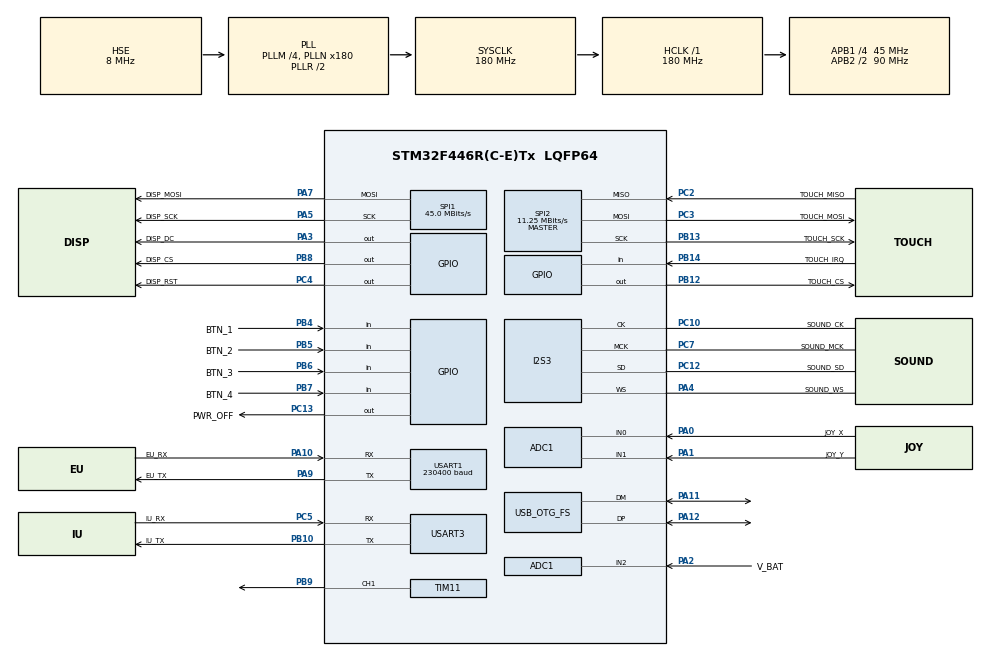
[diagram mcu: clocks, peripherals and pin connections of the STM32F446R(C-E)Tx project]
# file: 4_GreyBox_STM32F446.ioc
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ADC1.Channel-0\#ChannelRegularConversion=ADC_CHANNEL_0
ADC1.Channel-1\#ChannelRegularConversion=ADC_CHANNEL_1
ADC1.Channel-2\#ChannelRegularConversion=ADC_CHANNEL_2
ADC1.Channel-3\#ChannelRegularConversion=ADC_CHANNEL_TEMPSENSOR
ADC1.Channel-4\#ChannelRegularConversion=ADC_CHANNEL_VREFINT
ADC1.ContinuousConvMode=DISABLE
ADC1.DMAContinuousRequests=DISABLE
ADC1.InjNumberOfConversion=0
ADC1.NbrOfConversion=5
ADC1.NbrOfConversionFlag=1
ADC1.Rank-0\#ChannelRegularConversion=1
ADC1.Rank-1\#ChannelRegularConversion=2
ADC1.Rank-2\#ChannelRegularConversion=3
ADC1.Rank-3\#ChannelRegularConversion=4
ADC1.Rank-4\#ChannelRegularConversion=5
ADC1.SamplingTime-0\#ChannelRegularConversion=ADC_SAMPLETIME_84CYCLES
ADC1.SamplingTime-1\#ChannelRegularConversion=ADC_SAMPLETIME_84CYCLES
ADC1.SamplingTime-2\#ChannelRegularConversion=ADC_SAMPLETIME_84CYCLES
ADC1.SamplingTime-3\#ChannelRegularConversion=ADC_SAMPLETIME_84CYCLES
ADC1.SamplingTime-4\#ChannelRegularConversion=ADC_SAMPLETIME_84CYCLES
ADC1.master=1
Dma.ADC1.1.Direction=DMA_PERIPH_TO_MEMORY
Dma.ADC1.1.FIFOMode=DMA_FIFOMODE_DISABLE
Dma.ADC1.1.Instance=DMA2_Stream0
Dma.ADC1.1.MemDataAlignment=DMA_MDATAALIGN_HALFWORD
Dma.ADC1.1.MemInc=DMA_MINC_ENABLE
Dma.ADC1.1.Mode=DMA_NORMAL
Dma.ADC1.1.PeriphDataAlignment=DMA_PDATAALIGN_HALFWORD
Dma.ADC1.1.PeriphInc=DMA_PINC_DISABLE
Dma.ADC1.1.Priority=DMA_PRIORITY_LOW
Dma.Request0=SPI1_TX
Dma.Request1=ADC1
Dma.SPI1_TX.0.Direction=DMA_MEMORY_TO_PERIPH
Dma.SPI1_TX.0.FIFOMode=DMA_FIFOMODE_DISABLE
Dma.SPI1_TX.0.Instance=DMA2_Stream3
Dma.SPI1_TX.0.MemDataAlignment=DMA_MDATAALIGN_BYTE
Dma.SPI1_TX.0.MemInc=DMA_MINC_ENABLE
Dma.SPI1_TX.0.Mode=DMA_NORMAL
Dma.SPI1_TX.0.PeriphDataAlignment=DMA_PDATAALIGN_BYTE
Dma.SPI1_TX.0.PeriphInc=DMA_PINC_DISABLE
Dma.SPI1_TX.0.Priority=DMA_PRIORITY_LOW
I2S3.ErrorAudioFreq=-0.12 %
I2S3.FullDuplexMode=I2S_FULLDUPLEXMODE_DISABLE
I2S3.Instance=SPI$Index
I2S3.RealAudioFreq=7.99 KHz
I2S3.VirtualMode=I2S_MODE_MASTER
Mcu.Family=STM32F4
Mcu.Name=STM32F446R(C-E)Tx
Mcu.Package=LQFP64
NVIC.DMA2_Stream0_IRQn=true\:0\:0\:false\:false\:true\:false\:true\:true
NVIC.DMA2_Stream3_IRQn=true\:3\:0\:true\:false\:true\:false\:true\:true
NVIC.PriorityGroup=NVIC_PRIORITYGROUP_4
NVIC.SPI1_IRQn=true\:4\:0\:true\:false\:true\:true\:true\:true
NVIC.USART1_IRQn=true\:0\:0\:false\:false\:true\:true\:true\:true
PA0-WKUP.GPIO_Label=JOY_X
PA0-WKUP.Signal=ADCx_IN0
PA1.GPIO_Label=JOY_Y
PA1.Signal=ADCx_IN1
PA10.GPIO_Label=EU_RX
PA10.Mode=Asynchronous
PA10.Signal=USART1_RX
PA11.Mode=Device_Only
PA11.Signal=USB_OTG_FS_DM
PA12.Mode=Device_Only
PA12.Signal=USB_OTG_FS_DP
PA13.Mode=Trace_Asynchronous_SW
PA13.Signal=SYS_JTMS-SWDIO
PA14.Mode=Trace_Asynchronous_SW
PA14.Signal=SYS_JTCK-SWCLK
PA2.GPIO_Label=V_BAT
PA2.Signal=ADCx_IN2
PA3.GPIO_Label=DISP_DC
PA3.Signal=GPIO_Output
PA4.GPIO_Label=SOUND_WS
PA4.Mode=Half_Duplex_Master
PA4.Signal=I2S3_WS
PA5.GPIO_Label=DISP_SCK
PA5.GPIO_Speed=GPIO_SPEED_FREQ_VERY_HIGH
PA5.Mode=TX_Only_Simplex_Unidirect_Master
PA5.Signal=SPI1_SCK
PA7.GPIO_Label=DISP_MOSI
PA7.GPIO_Speed=GPIO_SPEED_FREQ_VERY_HIGH
PA7.Mode=TX_Only_Simplex_Unidirect_Master
PA7.Signal=SPI1_MOSI
PA9.GPIO_Label=EU_TX
PA9.Mode=Asynchronous
PA9.Signal=USART1_TX
PB10.GPIO_Label=IU_TX
PB10.Mode=Asynchronous
PB10.Signal=USART3_TX
PB12.GPIO_Label=TOUCH_CS
PB12.Signal=GPIO_Output
PB13.GPIO_Label=TOUCH_SCK
PB13.GPIO_Speed=GPIO_SPEED_FREQ_LOW
PB13.Mode=Full_Duplex_Master
PB13.Signal=SPI2_SCK
PB14.GPIO_Label=TOUCH_IRQ
PB14.Signal=GPIO_Input
PB3.Mode=Trace_Asynchronous_SW
PB3.Signal=SYS_JTDO-SWO
PB4.GPIO_Label=BTN_1
PB4.GPIO_PuPd=GPIO_PULLUP
PB4.Signal=GPIO_Input
PB5.GPIO_Label=BTN_2
PB5.GPIO_PuPd=GPIO_PULLUP
PB5.Signal=GPIO_Input
PB6.GPIO_Label=BTN_3
PB6.GPIO_PuPd=GPIO_PULLUP
PB6.Signal=GPIO_Input
PB7.GPIO_Label=BTN_4
PB7.GPIO_PuPd=GPIO_PULLUP
PB7.Signal=GPIO_Input
PB8.GPIO_Label=DISP_CS
PB8.Signal=GPIO_Output
PB9.GPIO_PuPd=GPIO_PULLUP
PB9.GPIO_Speed=GPIO_SPEED_FREQ_MEDIUM
PB9.Signal=S_TIM11_CH1
PC10.GPIO_Label=SOUND_CK
PC10.Mode=Half_Duplex_Master
PC10.Signal=I2S3_CK
PC12.GPIO_Label=SOUND_SD
PC12.Mode=Half_Duplex_Master
PC12.Signal=I2S3_SD
PC13.GPIO_Label=PWR_OFF
PC13.PinState=GPIO_PIN_SET
PC13.Signal=GPIO_Output
PC14-OSC32_IN.Mode=LSE-External-Oscillator
PC14-OSC32_IN.Signal=RCC_OSC32_IN
PC15-OSC32_OUT.Mode=LSE-External-Oscillator
PC15-OSC32_OUT.Signal=RCC_OSC32_OUT
PC2.GPIO_Label=TOUCH_MISO
PC2.GPIO_Speed=GPIO_SPEED_FREQ_LOW
PC2.Mode=Full_Duplex_Master
PC2.Signal=SPI2_MISO
PC3.GPIO_Label=TOUCH_MOSI
PC3.GPIO_Speed=GPIO_SPEED_FREQ_LOW
PC3.Mode=Full_Duplex_Master
PC3.Signal=SPI2_MOSI
PC4.GPIO_Label=DISP_RST
PC4.Signal=GPIO_Output
PC5.GPIO_Label=IU_RX
PC5.Mode=Asynchronous
PC5.Signal=USART3_RX
PC7.GPIO_Label=SOUND_MCK
PC7.Mode=Master_Clock_Activated
PC7.Signal=I2S3_MCK
PH0-OSC_IN.Mode=HSE-External-Oscillator
PH0-OSC_IN.Signal=RCC_OSC_IN
PH1-OSC_OUT.Mode=HSE-External-Oscillator
PH1-OSC_OUT.Signal=RCC_OSC_OUT
ProjectManager.HeapSize=0x200
ProjectManager.StackSize=0x400
ProjectManager.TargetToolchain=STM32CubeIDE
RCC.AHBFreq_Value=180000000
RCC.APB1CLKDivider=RCC_HCLK_DIV4
RCC.APB1Freq_Value=45000000
RCC.APB1TimFreq_Value=90000000
RCC.APB2CLKDivider=RCC_HCLK_DIV2
RCC.APB2Freq_Value=90000000
RCC.APB2TimFreq_Value=180000000
RCC.CortexFreq_Value=180000000
RCC.HCLKFreq_Value=180000000
RCC.HSE_VALUE=8000000
RCC.I2S1CLockSelection=RCC_I2SAPB1CLKSOURCE_PLLR
RCC.PLLM=4
RCC.PLLN=180
RCC.PLLQ=7
RCC.PLLSAIM=4
RCC.PLLSAIN=96
RCC.PLLSAIP=RCC_PLLSAIP_DIV4
RCC.PLLSourceVirtual=RCC_PLLSOURCE_HSE
RCC.RCC_RTC_Clock_SourceVirtual=RCC_RTCCLKSOURCE_LSE
RCC.SYSCLKFreq_VALUE=180000000
RCC.SYSCLKSource=RCC_SYSCLKSOURCE_PLLRCLK
RCC.USBCLockSelection=RCC_CLK48CLKSOURCE_PLLSAIP
RCC.USBFreq_Value=48000000
RCC.VCOOutputFreq_Value=360000000
SH.ADCx_IN0.0=ADC1_IN0,IN0
SH.ADCx_IN1.0=ADC1_IN1,IN1
SH.ADCx_IN2.0=ADC1_IN2,IN2
SH.S_TIM11_CH1.0=TIM11_CH1,PWM Generation1 CH1
SPI1.BaudRatePrescaler=SPI_BAUDRATEPRESCALER_2
SPI1.CLKPhase=SPI_PHASE_1EDGE
SPI1.CLKPolarity=SPI_POLARITY_LOW
SPI1.CalculateBaudRate=45.0 MBits/s
SPI1.DataSize=SPI_DATASIZE_8BIT
SPI1.Direction=SPI_DIRECTION_2LINES
SPI1.Mode=SPI_MODE_MASTER
SPI1.VirtualNSS=VM_NSSHARD
SPI1.VirtualType=VM_MASTER
SPI2.BaudRatePrescaler=SPI_BAUDRATEPRESCALER_4
SPI2.CalculateBaudRate=11.25 MBits/s
SPI2.Direction=SPI_DIRECTION_2LINES
SPI2.Mode=SPI_MODE_MASTER
SPI2.VirtualType=VM_MASTER
TIM11.Channel=TIM_CHANNEL_1
TIM11.Period=4400
TIM11.Prescaler=1
TIM11.Pulse=0
USART1.BaudRate=230400
USART1.VirtualMode=VM_ASYNC
USART3.VirtualMode=VM_ASYNC
USB_OTG_FS.VirtualMode=Device_Only
VP_ADC1_TempSens_Input.Mode=IN-TempSens
VP_ADC1_Vref_Input.Mode=IN-Vrefint
VP_RTC_VS_RTC_Activate.Mode=RTC_Enabled
VP_RTC_VS_RTC_Calendar.Mode=RTC_Calendar
VP_TIM11_VS_ClockSourceINT.Mode=Enable_Timer
board=custom

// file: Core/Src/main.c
/* USER CODE BEGIN Header */
/**
  ******************************************************************************
  * @file           : main.c
  * @brief          : Main program body
  ******************************************************************************
  * @attention
  *
  * Copyright (c) 2025 STMicroelectronics.
  * All rights reserved.
  *
  * This software is licensed under terms that can be found in the LICENSE file
  * in the root directory of this software component.
  * If no LICENSE file comes with this software, it is provided AS-IS.
  *
  ******************************************************************************
  */
#define  AVER_PERIOD    10
/* USER CODE END Header */
#include "main.h"

/* USER CODE BEGIN Includes */
#include "ILI9341_GFX.h"
#include "ILI9341_STM32_Driver.h"
#include <stdio.h>
#include <stdlib.h>
#include <string.h>
#include "common.h"
#include "ringbuf.h"
#include "scheduler.h"
/* USER CODE END Includes */

/* USER CODE BEGIN PTD */
typedef struct {
	uint16_t X;
	uint16_t Y;
	uint16_t ch;

}tMatrix;

tMatrix MatArr[22];

typedef union{
	uint16_t array[5];
	struct{
		uint16_t joy;
		uint16_t jox;
		uint16_t batlvl;
		uint16_t tmpr;
		uint16_t vref;
	};
}ADCdat_t;

typedef struct
{
  int batlvl;
  int jox;
  int joy;
  int tmpr;
  int vref;
}ADCaverdat_t;

typedef struct
{
  uint8_t joyx[128];
  uint8_t joyx_prev[128];
  uint8_t joyy[128];
  uint8_t joyy_prev[128];
  uint8_t Vbat[128];
  uint8_t Vbat_prev[128];
  uint8_t Vpowsup[128];
  uint8_t Vpowsup_prev[128];
  uint8_t Temper[128];
  uint8_t Temper_prev[128];
  uint8_t UART_string[128];
  uint8_t UART_string_prev[128];
  uint8_t Seconds[128];
  uint8_t Seconds_prev[128];
}DispDat_t;

char InfoStr[120] = {0};
/* USER CODE END PTD */

/* USER CODE BEGIN PD */
RINGBUF_t UartRXbuf;
uint8_t rx_buf[120] = {0};
uint8_t temp_byte;
DispDat_t temp_str = {0};

ADCdat_t ADC_data;
uint8_t temp_byte;
ADCaverdat_t ADC_averdata;

uint32_t summ_counter = 0;
uint32_t adc_complete = 1;
uint32_t adc_summcomplete = 0;
/* USER CODE END PD */

ADC_HandleTypeDef hadc1;
DMA_HandleTypeDef hdma_adc1;

I2S_HandleTypeDef hi2s3;

RTC_HandleTypeDef hrtc;

SPI_HandleTypeDef hspi1;
SPI_HandleTypeDef hspi2;
DMA_HandleTypeDef hdma_spi1_tx;

TIM_HandleTypeDef htim11;

UART_HandleTypeDef huart1;
UART_HandleTypeDef huart3;

PCD_HandleTypeDef hpcd_USB_OTG_FS;

void SystemClock_Config(void);
static void MX_GPIO_Init(void);
static void MX_DMA_Init(void);
static void MX_ADC1_Init(void);
static void MX_I2S3_Init(void);
static void MX_RTC_Init(void);
static void MX_SPI1_Init(void);
static void MX_SPI2_Init(void);
static void MX_USART1_UART_Init(void);
static void MX_USB_OTG_FS_PCD_Init(void);
static void MX_USART3_UART_Init(void);
static void MX_TIM11_Init(void);

/* USER CODE BEGIN 0 */
int _write(int file, char *ptr, int len)
{
  (void)file;
  int DataIdx;

  for (DataIdx = 0; DataIdx < len; DataIdx++)
  {
	  ITM_SendChar(*ptr++);
  }
  return len;
}

void UART_handler(void)
{
	static uint32_t temp_tick = 0;
	static uint16_t buf_len = 0;
	static uint16_t buf_len_prev = 0;

	RingBuf_Available(&buf_len, &UartRXbuf);
	if(buf_len)
	{
		if(buf_len_prev != buf_len)
		{
			buf_len_prev = buf_len;
			temp_tick = HAL_GetTick();
		}
		if((HAL_GetTick() - temp_tick) > 5)
		{
			RingBuf_DataRead(temp_str.UART_string, buf_len, &UartRXbuf);
			temp_str.UART_string[buf_len] = '\0';
			HAL_UART_Transmit_IT(&huart1, (uint8_t*)"OK!\n", 5);
		}
	}
}

void ADC_handler(void)
{
	static int Vtemper = 0;
	static int Temperature = 0;
	static int joyVoltX = 0;
	static int joyVoltY = 0;
	static int Vbattery = 0;
	static int Vpower = 0;

	if(adc_summcomplete)
	{
		ADC_averdata.batlvl /= summ_counter;
		ADC_averdata.jox /= summ_counter;
		ADC_averdata.joy /= summ_counter;
		ADC_averdata.tmpr /= summ_counter;
		ADC_averdata.vref /= summ_counter;

		joyVoltX = (ADC_averdata.jox * 1210) / ADC_averdata.vref;
		sprintf((char*)temp_str.joyx, "Jx: %d.%02dV", joyVoltX/1000, (joyVoltX%1000)/10);
		joyVoltY = (ADC_averdata.joy * 1210) / ADC_averdata.vref;
		sprintf((char*)temp_str.joyy, "Jy: %d.%02dV", joyVoltY/1000, (joyVoltY%1000)/10);
		Vbattery = (ADC_averdata.batlvl * 1853) / ADC_averdata.vref;
		sprintf((char*)temp_str.Vbat, "Vb: %d.%02dV", Vbattery/1000, (Vbattery%1000)/10);
		Vpower = (4095 * 1210) / ADC_averdata.vref;
		sprintf((char*)temp_str.Vpowsup, "Vp: %d.%02dV", Vpower/1000, (Vpower%1000)/10);
		Vtemper = (ADC_averdata.tmpr * 12100) / ADC_averdata.vref; // x10 mV
		Temperature = 25 + (Vtemper - 7600) / 25;
		sprintf((char*)temp_str.Temper, "T:  %d*C",Temperature);

		ADC_averdata.batlvl = 0;
		ADC_averdata.jox = 0;
		ADC_averdata.joy = 0;
		ADC_averdata.tmpr = 0;
		ADC_averdata.vref = 0;

	    joystick.ox = (uint8_t)clamp(((joyVoltX * 10) / 129), 0, 255);
	    joystick.oy = (uint8_t)clamp(((joyVoltY* 10) / 129), 0, 255);
	    Ubat = (uint8_t)clamp(((Vbattery * 10) / 164), 0, 255);

		adc_summcomplete = 0;
		summ_counter = 0;
	}

	if(adc_complete)
	{
		HAL_ADC_Start_DMA(&hadc1, (uint32_t*)ADC_data.array, 5);
		adc_complete = 0;
	}
}

void displayparams(void)
{
	static char tempstring[10][100];
	static uint16_t text_color = GREEN;

	sprintf((char*)temp_str.Seconds, "%02lu:%02lu:%02lu", (HAL_GetTick()/1000)/3600, ((HAL_GetTick()/1000)%3600)/60, (HAL_GetTick()/1000)%60);
	sprintf(tempstring[0], "jx%03u jy%03u BAT%03u<%d>", joystick.ox, joystick.oy, Ubat, batlvl);
	sprintf(tempstring[1], "PWM%03u", brightPWM);

	ILI9341_DrawText("8 bit parameters", FONT4, 105, 0, text_color, BLACK);
	ILI9341_DrawText(tempstring[0], FONT4, 105, 20, text_color, BLACK);
	ILI9341_DrawText(tempstring[1], FONT4, 105, 40, text_color, BLACK);
	ILI9341_DrawText((char*)temp_str.joyx, FONT4, 0, 0, text_color, BLACK);
	ILI9341_DrawText((char*)temp_str.joyy, FONT4, 0, 20, text_color, BLACK);
	ILI9341_DrawText((char*)temp_str.Vbat, FONT4, 0, 40, text_color, BLACK);
	ILI9341_DrawText((char*)temp_str.Vpowsup, FONT4, 0, 60, text_color, BLACK);
	ILI9341_DrawText((char*)temp_str.Temper, FONT4, 0, 80, text_color, BLACK);
	ILI9341_DrawText((char*)temp_str.Seconds, FONT4, 0, 100, text_color, BLACK);
	if(strncmp((char*)temp_str.UART_string, (char*)temp_str.UART_string_prev, 128)) {
		ILI9341_DrawText("                                      ", FONT4, 0, 120, text_color, BLACK);
		ILI9341_DrawText((char*)temp_str.UART_string, FONT4, 0, 120, text_color, BLACK);
		strncpy((char*)temp_str.UART_string_prev,  (char*)temp_str.UART_string, 128);
	}
}

void showmatrix(void)
{
	char ch = 32;
	randinit();
	for(int i = 0; i < 21; i++)
	{
		  MatArr[i].X = 15 * getrand(21);
		  MatArr[i].Y = 20 * getrand(12);
	}
	while(1)
	{
		check_btn_jstk();
		for(int i = 0; i < 21; i++)
		  {
			  ILI9341_DrawRectangle(MatArr[i].X, MatArr[i].Y + 12 , 15, 24 + getrand(36), BLACK);
			  ILI9341_DrawCharFast(ch, FONT4, MatArr[i].X, MatArr[i].Y, GREEN, BLACK);
			  ch++;
			  if(ch > 127) ch = 32 + getrand(95);
			  MatArr[i].Y += 20;
			  if(MatArr[i].Y > 220)
			  {
				  MatArr[i].Y = 0;
				  MatArr[i].X = getrand(21) * 15;
			  }
		  }
		  HAL_Delay(50);
		  if(pressbutton(&B1, NULL)) {
			  ILI9341_FillScreen(BLACK);
			  return;
		  }
	}
}
/* USER CODE END 0 */

int main(void)
{

  /* MCU Configuration--------------------------------------------------------*/

  /* Reset of all peripherals, Initializes the Flash interface and the Systick. */
  HAL_Init();

  /* Configure the system clock */
  SystemClock_Config();

  /* Initialize all configured peripherals */
  MX_GPIO_Init();
  MX_DMA_Init();
  MX_ADC1_Init();
  MX_I2S3_Init();
  MX_RTC_Init();
  MX_SPI1_Init();
  MX_SPI2_Init();
  MX_USART1_UART_Init();
  MX_USB_OTG_FS_PCD_Init();
  MX_USART3_UART_Init();
  MX_TIM11_Init();
  /* USER CODE BEGIN 2 */

  ILI9341_Init();
  ILI9341_SetRotation(SCREEN_HORIZONTAL_2);
  ILI9341_FillScreen(BLACK);
  RingBuf_Init(rx_buf, 1024, 1, &UartRXbuf);
  HAL_Delay(250);
  commoninit();
  /* USER CODE END 2 */

  /* Infinite loop */
  /* USER CODE BEGIN WHILE */

  //-------------scheduler functions-------------

  SchedAddEvent(displayparams, 100);

  //---------------------------------------------

  HAL_UART_Receive_IT(&huart1, &temp_byte, 1);
  HAL_ADC_Start_DMA(&hadc1, (uint32_t*)ADC_data.array, 5);

  while (1)
  {
	  check_btn_jstk();
	  batcheck();
	  UART_handler();
      SchedEventProcess();
	  ADC_handler();
	  pressbutton(&B1, decbright);
	  pressbutton(&B2, incbright);
	  pressbutton(&B3, ShutDown);
	  pressbutton(&B4, showmatrix);

#if 0
	  //Writing numbers
	      ILI9341_FillScreen(WHITE);
	      static char BufferText[30];
	      for(uint8_t i = 0; i <= 5; i++)
	      {
	        sprintf(BufferText, "COUNT : %d", i);
	        ILI9341_DrawText(BufferText, FONT3, 10, 10, BLACK, WHITE);
	        ILI9341_DrawText(BufferText, FONT3, 10, 30, BLUE, WHITE);
	        ILI9341_DrawText(BufferText, FONT3, 10, 50, RED, WHITE);
	        ILI9341_DrawText(BufferText, FONT3, 10, 70, GREEN, WHITE);
	        ILI9341_DrawText(BufferText, FONT3, 10, 90, YELLOW, WHITE);
	        ILI9341_DrawText(BufferText, FONT3, 10, 110, PURPLE, WHITE);
	        ILI9341_DrawText(BufferText, FONT3, 10, 130, ORANGE, WHITE);
	        ILI9341_DrawText(BufferText, FONT3, 10, 150, MAROON, WHITE);
	        ILI9341_DrawText(BufferText, FONT3, 10, 170, WHITE, BLACK);
	        ILI9341_DrawText(BufferText, FONT3, 10, 190, BLUE, BLACK);
	        HAL_Delay(1000);
	      }

	      // Horizontal Line (X, Y, Length, Color)
	      ILI9341_FillScreen(WHITE);
	      ILI9341_DrawHLine(50, 120, 200, NAVY);
	      HAL_Delay(1000);

	      // Vertical Line (X, Y, Length, Color)
	      ILI9341_FillScreen(WHITE);
	      ILI9341_DrawVLine(160, 40, 150, DARKGREEN);
	      HAL_Delay(1000);

	      // Hollow Circle (Centre X, Centre Y, Radius, Color)
	      ILI9341_FillScreen(WHITE);
	      ILI9341_DrawHollowCircle(160, 120, 80, PINK);
	      HAL_Delay(1000);

	      // Filled Circle (Centre X, Centre Y, Radius, Color)
	      ILI9341_FillScreen(WHITE);
	      ILI9341_DrawFilledCircle(160, 120, 50, CYAN);
	      HAL_Delay(1000);

	      // Filled Rectangle (Start X, Start Y, Length X, Length Y)
	      ILI9341_FillScreen(WHITE);
	      ILI9341_DrawRectangle(50, 50, 220, 140, GREENYELLOW);
	      HAL_Delay(1000);

	      // Hollow Rectangle (Start X, Start Y, End X, End Y)
	      ILI9341_FillScreen(WHITE);
	      ILI9341_DrawHollowRectangleCoord(50, 50, 270, 190, DARKCYAN);
	      HAL_Delay(1000);

	      // Simple Pixel Only (X, Y, Color)
	      ILI9341_FillScreen(WHITE);
	      ILI9341_DrawPixel(100, 100, BLACK);
	      HAL_Delay(1000);

#endif
    /* USER CODE END WHILE */

  }
}

void SystemClock_Config(void)
{
  RCC_OscInitTypeDef RCC_OscInitStruct = {0};
  RCC_ClkInitTypeDef RCC_ClkInitStruct = {0};

  /** Configure the main internal regulator output voltage
  */
  __HAL_RCC_PWR_CLK_ENABLE();
  __HAL_PWR_VOLTAGESCALING_CONFIG(PWR_REGULATOR_VOLTAGE_SCALE1);

  /** Initializes the RCC Oscillators according to the specified parameters
  * in the RCC_OscInitTypeDef structure.
  */
  RCC_OscInitStruct.OscillatorType = RCC_OSCILLATORTYPE_HSE|RCC_OSCILLATORTYPE_LSE;
  RCC_OscInitStruct.HSEState = RCC_HSE_ON;
  RCC_OscInitStruct.LSEState = RCC_LSE_ON;
  RCC_OscInitStruct.PLL.PLLState = RCC_PLL_ON;
  RCC_OscInitStruct.PLL.PLLSource = RCC_PLLSOURCE_HSE;
  RCC_OscInitStruct.PLL.PLLM = 4;
  RCC_OscInitStruct.PLL.PLLN = 180;
  RCC_OscInitStruct.PLL.PLLP = RCC_PLLP_DIV2;
  RCC_OscInitStruct.PLL.PLLQ = 7;
  RCC_OscInitStruct.PLL.PLLR = 2;
  if (HAL_RCC_OscConfig(&RCC_OscInitStruct) != HAL_OK)
  {
    Error_Handler();
  }

  /** Activate the Over-Drive mode
  */
  if (HAL_PWREx_EnableOverDrive() != HAL_OK)
  {
    Error_Handler();
  }

  /** Initializes the CPU, AHB and APB buses clocks
  */
  RCC_ClkInitStruct.ClockType = RCC_CLOCKTYPE_HCLK|RCC_CLOCKTYPE_SYSCLK
                              |RCC_CLOCKTYPE_PCLK1|RCC_CLOCKTYPE_PCLK2;
  RCC_ClkInitStruct.SYSCLKSource = RCC_SYSCLKSOURCE_PLLRCLK;
  RCC_ClkInitStruct.AHBCLKDivider = RCC_SYSCLK_DIV1;
  RCC_ClkInitStruct.APB1CLKDivider = RCC_HCLK_DIV4;
  RCC_ClkInitStruct.APB2CLKDivider = RCC_HCLK_DIV2;

  if (HAL_RCC_ClockConfig(&RCC_ClkInitStruct, FLASH_LATENCY_5) != HAL_OK)
  {
    Error_Handler();
  }
}

static void MX_ADC1_Init(void)
{

  ADC_ChannelConfTypeDef sConfig = {0};

  /** Configure the global features of the ADC (Clock, Resolution, Data Alignment and number of conversion)
  */
  hadc1.Instance = ADC1;
  hadc1.Init.ClockPrescaler = ADC_CLOCK_SYNC_PCLK_DIV4;
  hadc1.Init.Resolution = ADC_RESOLUTION_12B;
  hadc1.Init.ScanConvMode = ENABLE;
  hadc1.Init.ContinuousConvMode = DISABLE;
  hadc1.Init.DiscontinuousConvMode = DISABLE;
  hadc1.Init.ExternalTrigConvEdge = ADC_EXTERNALTRIGCONVEDGE_NONE;
  hadc1.Init.ExternalTrigConv = ADC_SOFTWARE_START;
  hadc1.Init.DataAlign = ADC_DATAALIGN_RIGHT;
  hadc1.Init.NbrOfConversion = 5;
  hadc1.Init.DMAContinuousRequests = DISABLE;
  hadc1.Init.EOCSelection = ADC_EOC_SINGLE_CONV;
  if (HAL_ADC_Init(&hadc1) != HAL_OK)
  {
    Error_Handler();
  }

  /** Configure for the selected ADC regular channel its corresponding rank in the sequencer and its sample time.
  */
  sConfig.Channel = ADC_CHANNEL_0;
  sConfig.Rank = 1;
  sConfig.SamplingTime = ADC_SAMPLETIME_84CYCLES;
  if (HAL_ADC_ConfigChannel(&hadc1, &sConfig) != HAL_OK)
  {
    Error_Handler();
  }

  /** Configure for the selected ADC regular channel its corresponding rank in the sequencer and its sample time.
  */
  sConfig.Channel = ADC_CHANNEL_1;
  sConfig.Rank = 2;
  if (HAL_ADC_ConfigChannel(&hadc1, &sConfig) != HAL_OK)
  {
    Error_Handler();
  }

  /** Configure for the selected ADC regular channel its corresponding rank in the sequencer and its sample time.
  */
  sConfig.Channel = ADC_CHANNEL_2;
  sConfig.Rank = 3;
  if (HAL_ADC_ConfigChannel(&hadc1, &sConfig) != HAL_OK)
  {
    Error_Handler();
  }

  /** Configure for the selected ADC regular channel its corresponding rank in the sequencer and its sample time.
  */
  sConfig.Channel = ADC_CHANNEL_TEMPSENSOR;
  sConfig.Rank = 4;
  if (HAL_ADC_ConfigChannel(&hadc1, &sConfig) != HAL_OK)
  {
    Error_Handler();
  }

  /** Configure for the selected ADC regular channel its corresponding rank in the sequencer and its sample time.
  */
  sConfig.Channel = ADC_CHANNEL_VREFINT;
  sConfig.Rank = 5;
  if (HAL_ADC_ConfigChannel(&hadc1, &sConfig) != HAL_OK)
  {
    Error_Handler();
  }

}

static void MX_I2S3_Init(void)
{

  hi2s3.Instance = SPI3;
  hi2s3.Init.Mode = I2S_MODE_MASTER_TX;
  hi2s3.Init.Standard = I2S_STANDARD_PHILIPS;
  hi2s3.Init.DataFormat = I2S_DATAFORMAT_16B;
  hi2s3.Init.MCLKOutput = I2S_MCLKOUTPUT_ENABLE;
  hi2s3.Init.AudioFreq = I2S_AUDIOFREQ_8K;
  hi2s3.Init.CPOL = I2S_CPOL_LOW;
  hi2s3.Init.ClockSource = I2S_CLOCK_PLLR;
  hi2s3.Init.FullDuplexMode = I2S_FULLDUPLEXMODE_DISABLE;
  if (HAL_I2S_Init(&hi2s3) != HAL_OK)
  {
    Error_Handler();
  }

}

static void MX_RTC_Init(void)
{

  RTC_TimeTypeDef sTime = {0};
  RTC_DateTypeDef sDate = {0};

  /** Initialize RTC Only
  */
  hrtc.Instance = RTC;
  hrtc.Init.HourFormat = RTC_HOURFORMAT_24;
  hrtc.Init.AsynchPrediv = 127;
  hrtc.Init.SynchPrediv = 255;
  hrtc.Init.OutPut = RTC_OUTPUT_DISABLE;
  hrtc.Init.OutPutPolarity = RTC_OUTPUT_POLARITY_HIGH;
  hrtc.Init.OutPutType = RTC_OUTPUT_TYPE_OPENDRAIN;
  if (HAL_RTC_Init(&hrtc) != HAL_OK)
  {
    Error_Handler();
  }

  /** Initialize RTC and set the Time and Date
  */
  sTime.Hours = 0x0;
  sTime.Minutes = 0x0;
  sTime.Seconds = 0x0;
  sTime.DayLightSaving = RTC_DAYLIGHTSAVING_NONE;
  sTime.StoreOperation = RTC_STOREOPERATION_RESET;
  if (HAL_RTC_SetTime(&hrtc, &sTime, RTC_FORMAT_BCD) != HAL_OK)
  {
    Error_Handler();
  }
  sDate.WeekDay = RTC_WEEKDAY_MONDAY;
  sDate.Month = RTC_MONTH_JANUARY;
  sDate.Date = 0x1;
  sDate.Year = 0x0;

  if (HAL_RTC_SetDate(&hrtc, &sDate, RTC_FORMAT_BCD) != HAL_OK)
  {
    Error_Handler();
  }

}

static void MX_SPI1_Init(void)
{

  /* SPI1 parameter configuration*/
  hspi1.Instance = SPI1;
  hspi1.Init.Mode = SPI_MODE_MASTER;
  hspi1.Init.Direction = SPI_DIRECTION_2LINES;
  hspi1.Init.DataSize = SPI_DATASIZE_8BIT;
  hspi1.Init.CLKPolarity = SPI_POLARITY_LOW;
  hspi1.Init.CLKPhase = SPI_PHASE_1EDGE;
  hspi1.Init.NSS = SPI_NSS_SOFT;
  hspi1.Init.BaudRatePrescaler = SPI_BAUDRATEPRESCALER_2;
  hspi1.Init.FirstBit = SPI_FIRSTBIT_MSB;
  hspi1.Init.TIMode = SPI_TIMODE_DISABLE;
  hspi1.Init.CRCCalculation = SPI_CRCCALCULATION_DISABLE;
  hspi1.Init.CRCPolynomial = 10;
  if (HAL_SPI_Init(&hspi1) != HAL_OK)
  {
    Error_Handler();
  }

}

static void MX_SPI2_Init(void)
{

  /* SPI2 parameter configuration*/
  hspi2.Instance = SPI2;
  hspi2.Init.Mode = SPI_MODE_MASTER;
  hspi2.Init.Direction = SPI_DIRECTION_2LINES;
  hspi2.Init.DataSize = SPI_DATASIZE_8BIT;
  hspi2.Init.CLKPolarity = SPI_POLARITY_LOW;
  hspi2.Init.CLKPhase = SPI_PHASE_1EDGE;
  hspi2.Init.NSS = SPI_NSS_SOFT;
  hspi2.Init.BaudRatePrescaler = SPI_BAUDRATEPRESCALER_4;
  hspi2.Init.FirstBit = SPI_FIRSTBIT_MSB;
  hspi2.Init.TIMode = SPI_TIMODE_DISABLE;
  hspi2.Init.CRCCalculation = SPI_CRCCALCULATION_DISABLE;
  hspi2.Init.CRCPolynomial = 10;
  if (HAL_SPI_Init(&hspi2) != HAL_OK)
  {
    Error_Handler();
  }

}

static void MX_TIM11_Init(void)
{

  TIM_OC_InitTypeDef sConfigOC = {0};

  htim11.Instance = TIM11;
  htim11.Init.Prescaler = 1;
  htim11.Init.CounterMode = TIM_COUNTERMODE_UP;
  htim11.Init.Period = 4400;
  htim11.Init.ClockDivision = TIM_CLOCKDIVISION_DIV1;
  htim11.Init.AutoReloadPreload = TIM_AUTORELOAD_PRELOAD_DISABLE;
  if (HAL_TIM_Base_Init(&htim11) != HAL_OK)
  {
    Error_Handler();
  }
  if (HAL_TIM_PWM_Init(&htim11) != HAL_OK)
  {
    Error_Handler();
  }
  sConfigOC.OCMode = TIM_OCMODE_PWM1;
  sConfigOC.Pulse = 0;
  sConfigOC.OCPolarity = TIM_OCPOLARITY_HIGH;
  sConfigOC.OCFastMode = TIM_OCFAST_DISABLE;
  if (HAL_TIM_PWM_ConfigChannel(&htim11, &sConfigOC, TIM_CHANNEL_1) != HAL_OK)
  {
    Error_Handler();
  }
  HAL_TIM_MspPostInit(&htim11);

}

static void MX_USART1_UART_Init(void)
{

  huart1.Instance = USART1;
  huart1.Init.BaudRate = 230400;
  huart1.Init.WordLength = UART_WORDLENGTH_8B;
  huart1.Init.StopBits = UART_STOPBITS_1;
  huart1.Init.Parity = UART_PARITY_NONE;
  huart1.Init.Mode = UART_MODE_TX_RX;
  huart1.Init.HwFlowCtl = UART_HWCONTROL_NONE;
  huart1.Init.OverSampling = UART_OVERSAMPLING_16;
  if (HAL_UART_Init(&huart1) != HAL_OK)
  {
    Error_Handler();
  }

}

static void MX_USART3_UART_Init(void)
{

  huart3.Instance = USART3;
  huart3.Init.BaudRate = 115200;
  huart3.Init.WordLength = UART_WORDLENGTH_8B;
  huart3.Init.StopBits = UART_STOPBITS_1;
  huart3.Init.Parity = UART_PARITY_NONE;
  huart3.Init.Mode = UART_MODE_TX_RX;
  huart3.Init.HwFlowCtl = UART_HWCONTROL_NONE;
  huart3.Init.OverSampling = UART_OVERSAMPLING_16;
  if (HAL_UART_Init(&huart3) != HAL_OK)
  {
    Error_Handler();
  }

}

static void MX_USB_OTG_FS_PCD_Init(void)
{

  hpcd_USB_OTG_FS.Instance = USB_OTG_FS;
  hpcd_USB_OTG_FS.Init.dev_endpoints = 6;
  hpcd_USB_OTG_FS.Init.speed = PCD_SPEED_FULL;
  hpcd_USB_OTG_FS.Init.dma_enable = DISABLE;
  hpcd_USB_OTG_FS.Init.phy_itface = PCD_PHY_EMBEDDED;
  hpcd_USB_OTG_FS.Init.Sof_enable = DISABLE;
  hpcd_USB_OTG_FS.Init.low_power_enable = DISABLE;
  hpcd_USB_OTG_FS.Init.lpm_enable = DISABLE;
  hpcd_USB_OTG_FS.Init.vbus_sensing_enable = DISABLE;
  hpcd_USB_OTG_FS.Init.use_dedicated_ep1 = DISABLE;
  if (HAL_PCD_Init(&hpcd_USB_OTG_FS) != HAL_OK)
  {
    Error_Handler();
  }

}

static void MX_DMA_Init(void)
{

  /* DMA controller clock enable */
  __HAL_RCC_DMA2_CLK_ENABLE();

  /* DMA interrupt init */
  /* DMA2_Stream0_IRQn interrupt configuration */
  HAL_NVIC_SetPriority(DMA2_Stream0_IRQn, 0, 0);
  HAL_NVIC_EnableIRQ(DMA2_Stream0_IRQn);
  /* DMA2_Stream3_IRQn interrupt configuration */
  HAL_NVIC_SetPriority(DMA2_Stream3_IRQn, 3, 0);
  HAL_NVIC_EnableIRQ(DMA2_Stream3_IRQn);

}

static void MX_GPIO_Init(void)
{
  GPIO_InitTypeDef GPIO_InitStruct = {0};

  /* GPIO Ports Clock Enable */
  __HAL_RCC_GPIOC_CLK_ENABLE();
  __HAL_RCC_GPIOH_CLK_ENABLE();
  __HAL_RCC_GPIOA_CLK_ENABLE();
  __HAL_RCC_GPIOB_CLK_ENABLE();

  /*Configure GPIO pin Output Level */
  HAL_GPIO_WritePin(PWR_OFF_GPIO_Port, PWR_OFF_Pin, GPIO_PIN_SET);

  /*Configure GPIO pin Output Level */
  HAL_GPIO_WritePin(DISP_DC_GPIO_Port, DISP_DC_Pin, GPIO_PIN_RESET);

  /*Configure GPIO pin Output Level */
  HAL_GPIO_WritePin(DISP_RST_GPIO_Port, DISP_RST_Pin, GPIO_PIN_RESET);

  /*Configure GPIO pin Output Level */
  HAL_GPIO_WritePin(GPIOB, TOUCH_CS_Pin|DISP_CS_Pin, GPIO_PIN_RESET);

  /*Configure GPIO pins : PWR_OFF_Pin DISP_RST_Pin */
  GPIO_InitStruct.Pin = PWR_OFF_Pin|DISP_RST_Pin;
  GPIO_InitStruct.Mode = GPIO_MODE_OUTPUT_PP;
  GPIO_InitStruct.Pull = GPIO_NOPULL;
  GPIO_InitStruct.Speed = GPIO_SPEED_FREQ_LOW;
  HAL_GPIO_Init(GPIOC, &GPIO_InitStruct);

  /*Configure GPIO pin : DISP_DC_Pin */
  GPIO_InitStruct.Pin = DISP_DC_Pin;
  GPIO_InitStruct.Mode = GPIO_MODE_OUTPUT_PP;
  GPIO_InitStruct.Pull = GPIO_NOPULL;
  GPIO_InitStruct.Speed = GPIO_SPEED_FREQ_LOW;
  HAL_GPIO_Init(DISP_DC_GPIO_Port, &GPIO_InitStruct);

  /*Configure GPIO pins : TOUCH_CS_Pin DISP_CS_Pin */
  GPIO_InitStruct.Pin = TOUCH_CS_Pin|DISP_CS_Pin;
  GPIO_InitStruct.Mode = GPIO_MODE_OUTPUT_PP;
  GPIO_InitStruct.Pull = GPIO_NOPULL;
  GPIO_InitStruct.Speed = GPIO_SPEED_FREQ_LOW;
  HAL_GPIO_Init(GPIOB, &GPIO_InitStruct);

  /*Configure GPIO pin : TOUCH_IRQ_Pin */
  GPIO_InitStruct.Pin = TOUCH_IRQ_Pin;
  GPIO_InitStruct.Mode = GPIO_MODE_INPUT;
  GPIO_InitStruct.Pull = GPIO_NOPULL;
  HAL_GPIO_Init(TOUCH_IRQ_GPIO_Port, &GPIO_InitStruct);

  /*Configure GPIO pins : BTN_1_Pin BTN_2_Pin BTN_3_Pin BTN_4_Pin */
  GPIO_InitStruct.Pin = BTN_1_Pin|BTN_2_Pin|BTN_3_Pin|BTN_4_Pin;
  GPIO_InitStruct.Mode = GPIO_MODE_INPUT;
  GPIO_InitStruct.Pull = GPIO_PULLUP;
  HAL_GPIO_Init(GPIOB, &GPIO_InitStruct);

}

/* USER CODE BEGIN 4 */
void HAL_IncTick(void)
{
  uwTick += uwTickFreq;
  SchedPeriodIncr();
}

void HAL_UART_RxCpltCallback(UART_HandleTypeDef *huart)
{
  if(huart == &huart1)
  {
	RingBuf_DataPut(&temp_byte, 1, &UartRXbuf);
    HAL_UART_Receive_IT (&huart1, &temp_byte, 1);
  }
}

void HAL_UART_TxCpltCallback(UART_HandleTypeDef *huart)
{
  if(huart == &huart1)
  {
  }
}

void HAL_ADC_ConvCpltCallback(ADC_HandleTypeDef* hadc)
{
  if(hadc->Instance == ADC1)
  {
    if(summ_counter < AVER_PERIOD)
    {
      ADC_averdata.batlvl += (uint32_t) ADC_data.batlvl;
      ADC_averdata.jox += (uint32_t) ADC_data.jox;
      ADC_averdata.joy += (uint32_t) ADC_data.joy;
      ADC_averdata.tmpr += (uint32_t) ADC_data.tmpr;
      ADC_averdata.vref += (uint32_t) ADC_data.vref;
      summ_counter++;
    }
    else
    {
      adc_summcomplete = 1;
    }
    adc_complete = 1;
  }
}
/* USER CODE END 4 */

void Error_Handler(void)
{
  __disable_irq();
  while (1)
  {
  }
}
